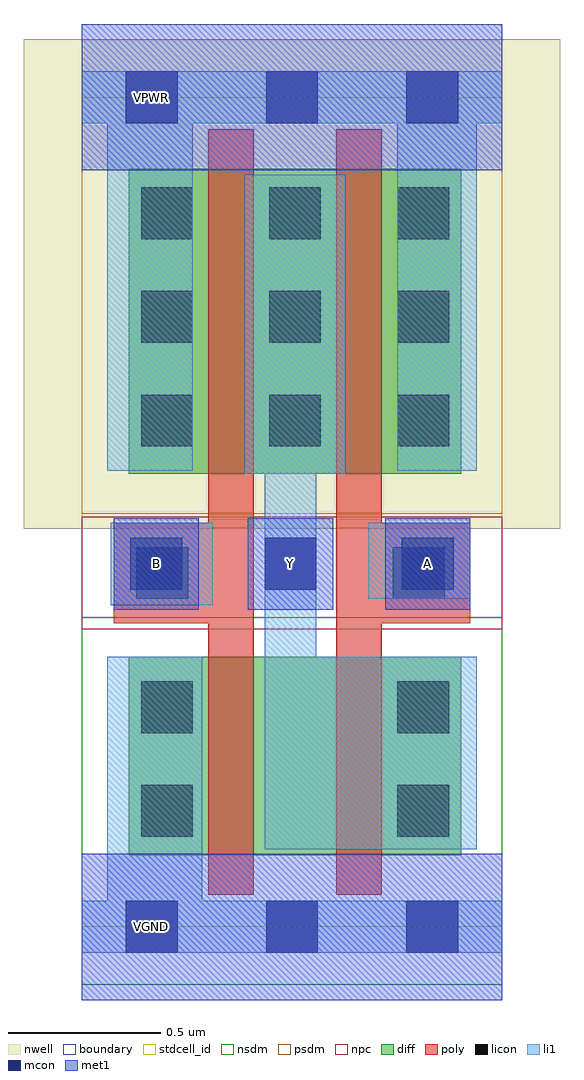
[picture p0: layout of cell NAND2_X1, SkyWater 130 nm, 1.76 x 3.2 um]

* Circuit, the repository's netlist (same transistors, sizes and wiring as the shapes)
.subckt NAND2_X1 A B Y VPWR VGND VNB
M0 Y A VPWR nwell_i sky130_fd_pr__pfet_01v8 L=0.15u W=1.0u
M1 Y B VPWR nwell_i sky130_fd_pr__pfet_01v8 L=0.15u W=1.0u
M2 Y A m0 VNB sky130_fd_pr__nfet_01v8 L=0.15u W=0.65u
M3 m0 B VGND VNB sky130_fd_pr__nfet_01v8 L=0.15u W=0.65u
.ends

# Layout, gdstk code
import gdstk
lib = gdstk.Library(unit=1e-6, precision=1e-09)
def R(c, l, rs):  # rectangles x0, y0, x1, y1
    for r in rs: c.add(gdstk.rectangle(r[:2], r[2:], *l))
def A(c, l, x, y, w, h, nx, ny, dx, dy):  # array of equal rectangles
    R(c, l, [(x+i*dx, y+j*dy, x+i*dx+w, y+j*dy+h) for i in range(nx) for j in range(ny)])
nwell = (64, 20)
diff = (65, 20)
poly = (66, 20)
licon = (66, 44)
li1 = (67, 20)
mcon = (67, 44)
met1 = (68, 20)
stdcell_id = (81, 4)
nsdm = (93, 44)
psdm = (94, 20)
npc = (95, 20)
boundary = (235, 4)

nand2_x1 = lib.new_cell('NAND2_X1')
R(nand2_x1, nwell, [(-0.19,1.305,1.57,2.91)])
R(nand2_x1, diff, [(0.155,0.235,1.245,0.885), (0.155,1.485,1.245,2.485)])
R(nand2_x1, poly, [(0.415,0.105,0.565,2.615), (0.835,0.105,0.985,2.615), (0.105,0.995,0.415,1.325), (0.985,0.995,1.275,1.325)])
A(nand2_x1, licon, 0.195, 1.575, 0.17, 0.17, 3, 3, 0.42, 0.34)
R(nand2_x1, licon, [(0.195,0.295,0.365,0.465), (1.035,0.295,1.205,0.465), (0.195,0.635,0.365,0.805), (1.035,0.635,1.205,0.805), (0.18,1.075,0.35,1.245), (1.02,1.075,1.19,1.245)])
R(nand2_x1, li1, [(0,-0.085,1.38,0.085), (0.085,0.085,0.395,0.885), (0.6,0.255,1.295,0.885), (0.6,0.885,0.77,1.485), (0.095,1.055,0.43,1.325), (0.94,1.075,1.275,1.325), (0.535,1.485,0.865,2.465), (0.085,1.495,0.365,2.635), (1.035,1.495,1.295,2.635), (0,2.635,1.38,2.805)])
A(nand2_x1, mcon, 0.145, -0.085, 0.17, 0.17, 3, 2, 0.46, 2.72)
R(nand2_x1, mcon, [(0.16,1.105,0.33,1.275), (0.6,1.105,0.77,1.275), (1.05,1.105,1.22,1.275)])
R(nand2_x1, met1, [(0,-0.24,1.38,0.24), (0.105,1.04,0.385,1.34), (0.545,1.04,0.825,1.34), (0.995,1.04,1.275,1.34), (0,2.48,1.38,2.96)])
R(nand2_x1, stdcell_id, [(0,0,1.38,2.72)])
R(nand2_x1, nsdm, [(0,-0.19,1.38,1.015)])
R(nand2_x1, psdm, [(0,1.355,1.38,2.91)])
R(nand2_x1, npc, [(0,0.975,1.38,1.345)])
R(nand2_x1, boundary, [(0,0,1.38,2.72)])
nand2_x1.add(gdstk.Label('VPWR', (0.23,2.72), layer=68, texttype=5))
nand2_x1.add(gdstk.Label('VGND', (0.23,0), layer=68, texttype=5))
nand2_x1.add(gdstk.Label('B', (0.245,1.19), layer=68, texttype=5))
nand2_x1.add(gdstk.Label('A', (1.135,1.19), layer=68, texttype=5))
nand2_x1.add(gdstk.Label('Y', (0.685,1.19), layer=68, texttype=5))

lib.write_gds('NAND2_X1.gds')
